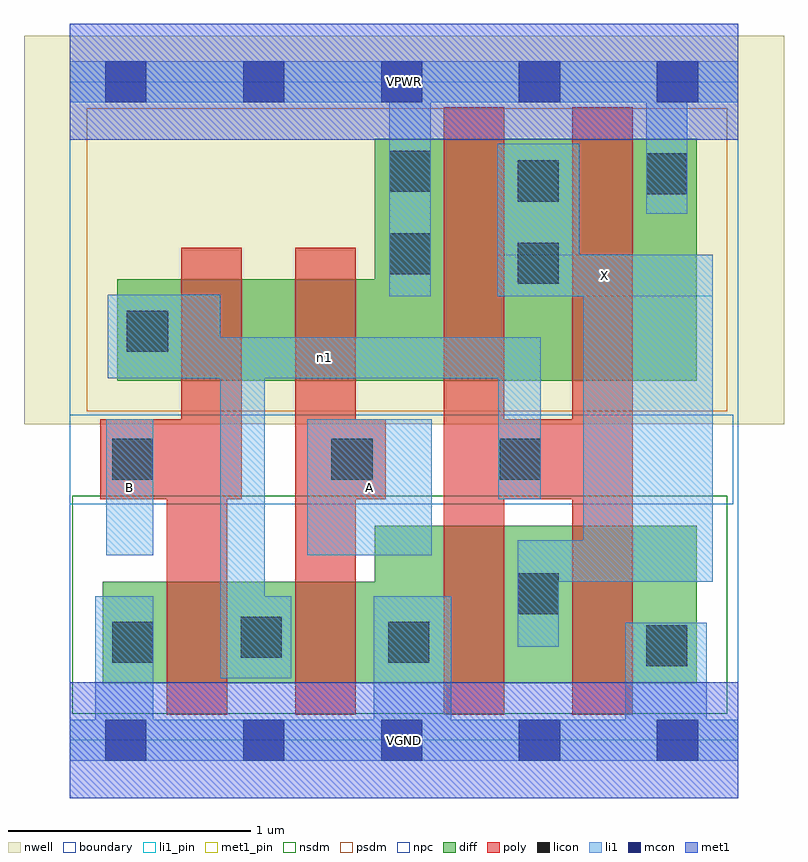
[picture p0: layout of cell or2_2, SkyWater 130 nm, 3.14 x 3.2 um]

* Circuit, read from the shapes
.subckt or2_2 A B VGND VPWR X n1
XM1 n1 B VGND VSUBS sky130_fd_pr__nfet_01v8 w=0.42 l=0.25
XM2 VGND A n1 VSUBS sky130_fd_pr__nfet_01v8 w=0.42 l=0.25
XM3 X n1 VGND VSUBS sky130_fd_pr__nfet_01v8 w=0.65 l=0.25 m=2
XM4 n2 B n1 n3 sky130_fd_pr__pfet_01v8 w=0.42 l=0.25
XM5 VPWR A n2 n3 sky130_fd_pr__pfet_01v8 w=0.42 l=0.25
XM6 X n1 VPWR n3 sky130_fd_pr__pfet_01v8 w=1 l=0.25 m=2
.ends

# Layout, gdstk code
import gdstk
lib = gdstk.Library(unit=1e-6, precision=1e-09)
def R(c, l, rs):  # rectangles x0, y0, x1, y1
    for r in rs: c.add(gdstk.rectangle(r[:2], r[2:], *l))
def A(c, l, x, y, w, h, nx, ny, dx, dy):  # array of equal rectangles
    R(c, l, [(x+i*dx, y+j*dy, x+i*dx+w, y+j*dy+h) for i in range(nx) for j in range(ny)])
nwell = (64, 20)
diff = (65, 20)
poly = (66, 20)
licon = (66, 44)
li1_pin = (67, 16)
li1 = (67, 20)
mcon = (67, 44)
met1_pin = (68, 16)
met1 = (68, 20)
nsdm = (93, 44)
psdm = (94, 20)
npc = (95, 20)
boundary = (235, 4)

or2_2 = lib.new_cell('or2_2')
R(or2_2, nwell, [(-0.19,1.305,2.95,2.91), (0,1.305,2.76,2.91)])
R(or2_2, diff, [(0.135,0.235,2.59,0.655), (1.26,0.235,2.59,0.885), (0.195,1.485,2.59,1.905), (1.26,1.485,2.59,2.485)])
R(or2_2, poly, [(0.4,0.105,0.65,1.325), (0.93,0.105,1.18,2.035), (1.545,0.105,1.795,2.615), (2.075,0.105,2.325,2.615), (0.125,0.995,0.71,1.325), (0.46,0.995,0.71,2.035), (0.93,0.995,1.305,1.325), (1.545,0.995,2.325,1.325)])
R(or2_2, licon, [(2.38,0.305,2.55,0.475), (0.175,0.32,0.345,0.49), (1.315,0.32,1.485,0.49), (0.705,0.34,0.875,0.51), (1.85,0.52,2.02,0.69), (0.175,1.075,0.345,1.245), (1.08,1.075,1.25,1.245), (1.775,1.075,1.945,1.245), (0.235,1.605,0.405,1.775), (1.85,1.885,2.02,2.055), (1.32,1.925,1.49,2.095), (1.85,2.225,2.02,2.395), (2.38,2.255,2.55,2.425), (1.32,2.265,1.49,2.435)])
R(or2_2, li1_pin, [(0.15,0.765,0.345,1.325), (0.98,0.765,1.495,1.325), (1.765,1.835,2.655,2.005)])
R(or2_2, li1, [(0,-0.085,2.76,0.085), (0.105,-0.085,0.345,0.595), (1.255,-0.085,1.575,0.595), (2.295,-0.085,2.63,0.485), (0.62,0.255,0.805,1.665), (0.62,0.255,0.915,0.595), (1.85,0.385,2.02,0.825), (1.85,0.655,2.655,0.825), (2.12,0.655,2.655,2.005), (0.15,0.765,0.345,1.325), (0.98,0.765,1.495,1.325), (1.77,0.995,1.945,1.665), (0.155,1.495,1.945,1.665), (0.155,1.495,0.62,1.84), (1.32,1.835,1.49,2.805), (1.765,1.835,2.105,2.465), (1.765,1.835,2.655,2.005), (2.38,2.175,2.55,2.805), (0,2.635,2.76,2.805)])
A(or2_2, mcon, 0.145, -0.085, 0.17, 0.17, 5, 2, 0.57, 2.72)
R(or2_2, met1_pin, [(0,-0.24,2.76,0.24), (0,2.48,2.76,2.96)])
R(or2_2, met1, [(0,-0.24,2.76,0.24), (0,2.48,2.76,2.96)])
R(or2_2, nsdm, [(0.01,0.11,2.715,1.01)])
R(or2_2, psdm, [(0.07,1.36,2.715,2.61)])
R(or2_2, npc, [(0,0.975,2.74,1.345)])
R(or2_2, boundary, [(0,0,2.76,2.72)])
or2_2.add(gdstk.Label('A', (1.237,1.045), layer=67, texttype=5))
or2_2.add(gdstk.Label('B', (0.247,1.045), layer=67, texttype=5))
or2_2.add(gdstk.Label('X', (2.21,1.92), layer=67, texttype=5))
or2_2.add(gdstk.Label('n1', (1.05,1.58), layer=67, texttype=5))
or2_2.add(gdstk.Label('VPWR', (1.38,2.72), layer=68, texttype=5))
or2_2.add(gdstk.Label('VGND', (1.38,0), layer=68, texttype=5))
or2_2.add(gdstk.Label('A', (1.237,1.045), layer=67, texttype=16))
or2_2.add(gdstk.Label('B', (0.247,1.045), layer=67, texttype=16))
or2_2.add(gdstk.Label('X', (2.21,1.92), layer=67, texttype=16))
or2_2.add(gdstk.Label('VPWR', (1.38,2.72), layer=68, texttype=16))
or2_2.add(gdstk.Label('VGND', (1.38,0), layer=68, texttype=16))

lib.write_gds('or2_2.gds')
